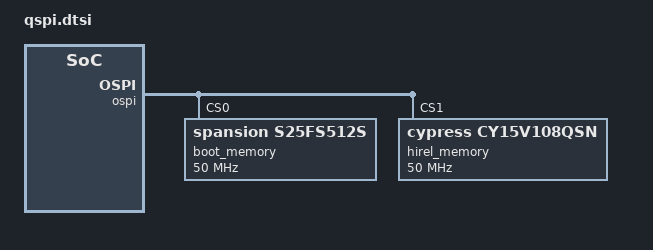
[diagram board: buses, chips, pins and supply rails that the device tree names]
&ospi {
	/delete-property/ is-stacked;
	/delete-property/ is-dual;
	xlnx,connection-mode = <0>;
	xlnx,qspi-mode = <0>;

	boot_memory: flash@0 {
		#address-cells = <1>;
		#size-cells = <1>;
		compatible = "spansion,s25fs512s", "jedec,spi-nor";
		reg = <0>;
		spi-tx-bus-width = <1>;
		spi-rx-bus-width = <4>;
		spi-max-frequency = <50000000>;
	};

	hirel_memory: flash@1 {
		#address-cells = <1>;
		#size-cells = <1>;
		compatible = "cypress,cy15v108qsn", "jedec,spi-nor";
		reg = <1>;
		spi-tx-bus-width = <1>;
		spi-rx-bus-width = <4>;
		spi-max-frequency = <50000000>;
	};
};
